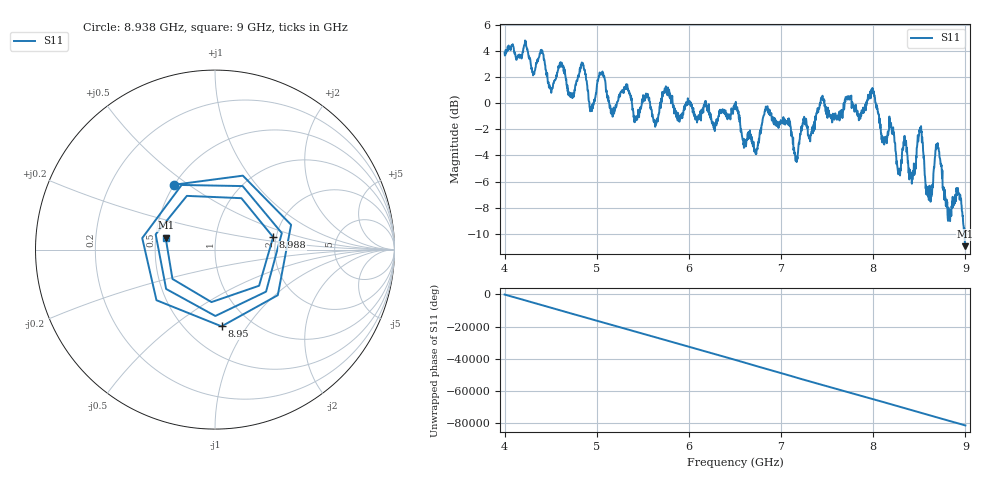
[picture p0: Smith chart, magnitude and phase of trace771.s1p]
! Created with skrf 1.8.0 (http://scikit-rf.org).
# Hz S RI R 50.0
!freq ReS11 ImS11
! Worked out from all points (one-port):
!   1601 points, 4 GHz to 9 GHz, reference 50 ohm
!   lowest |S11| = -11.0 dB at 9 GHz (marker M1), VSWR 1.79, Z = 28.2 + j4.05 ohm
!   |S11| at or under -10 dB: 8.991166 GHz to end of sweep
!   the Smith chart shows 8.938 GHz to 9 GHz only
!   S11 on the Smith chart (normalised r, x): 8.938 GHz: 0.50, +0.44; 8.95 GHz: 0.73, -0.77; 8.988 GHz: 1.93, +0.30; 9 GHz: 0.56, +0.08
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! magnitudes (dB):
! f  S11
! 4 GHz  3.9
! 4.403 GHz  4.0
! 4.503 GHz  1.1
! 4.625 GHz  2.9
! 4.725 GHz  0.6
! 4.853 GHz  2.9
! 4.941 GHz  -0.6
! 5.047 GHz  2.2
! 5.162 GHz  -0.7
! 5.25 GHz  0.5
! 5.875 GHz  -1.0
! 6.5 GHz  -0.2
! 6.719 GHz  -3.6
! 6.85 GHz  -0.2
! 7.125 GHz  -2.7
! 7.75 GHz  0.5
! 7.994 GHz  0.8
! 8.275 GHz  -5.3
! 8.375 GHz  -4.6
! 8.438 GHz  -5.5
! 8.509 GHz  -1.8
! 8.6 GHz  -6.4
! 8.697 GHz  -3.2
! 8.812 GHz  -9.0
! 8.938 GHz  -7.4
! 8.95 GHz  -7.3
! 8.988 GHz  -9.6
! 9 GHz  -11.0
